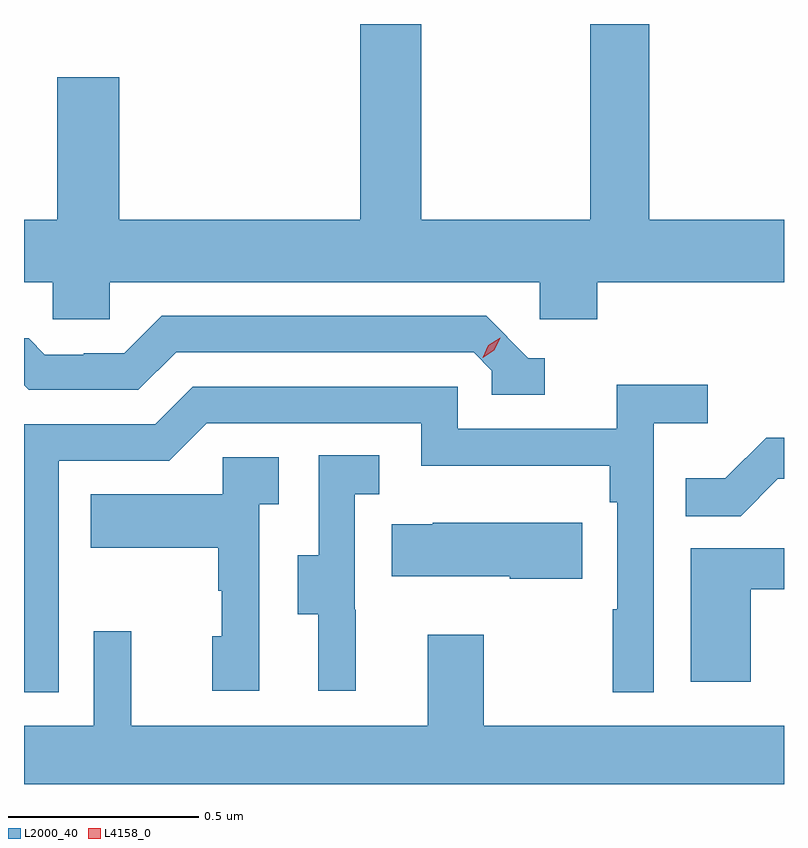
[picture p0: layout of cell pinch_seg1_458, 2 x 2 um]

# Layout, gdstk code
import gdstk
lib = gdstk.Library(unit=1e-6, precision=1e-09)
def P(c, l, *ps):  # polygons
    for p in ps: c.add(gdstk.Polygon(p, *l))
L2000_40 = (2000, 40)
L4158_0 = (4158, 0)

pinch_seg1_458 = lib.new_cell('pinch_seg1_458')
P(pinch_seg1_458, L2000_40, [(980.331,514.436),(981.462,514.436),(981.462,514.338),(981.614,514.338),(981.614,514.436),(982.105,514.436),(982.105,514.6),(981.75,514.6),(981.75,515.115),(981.595,515.115),(981.595,514.6),(981.15,514.6),(981.15,515.115),(980.99,515.115),(980.99,514.6),(980.356,514.6),(980.356,514.975),(980.192,514.975),(980.192,514.6),(980.105,514.6),(980.105,514.436),(980.181,514.436),(980.181,514.338),(980.331,514.338)],
  [(981.475,514.236),(981.432,514.236),(981.321,514.347),(980.468,514.347),(980.369,514.248),(980.262,514.248),(980.262,514.245),(980.159,514.245),(980.117,514.288),(980.105,514.288),(980.105,514.164),(980.117,514.152),(980.406,514.152),(980.505,514.251),(981.288,514.251),(981.336,514.203),(981.336,514.14),(981.475,514.14)],
  [(980.196,513.966),(980.487,513.966),(980.586,514.065),(981.15,514.065),(981.15,513.953),(981.646,513.953),(981.646,513.857),(981.666,513.857),(981.666,513.575),(981.654,513.575),(981.654,513.357),(981.762,513.357),(981.762,514.064),(981.904,514.064),(981.904,514.166),(981.665,514.166),(981.665,514.05),(981.246,514.05),(981.246,514.161),(980.549,514.161),(980.45,514.062),(980.105,514.062),(980.105,513.357),(980.196,513.357)],
  [(982.089,513.918),(982.105,513.918),(982.105,514.026),(982.058,514.026),(981.951,513.919),(981.847,513.919),(981.847,513.82),(981.991,513.82)],
  [(980.978,513.573),(980.976,513.573),(980.976,513.877),(981.04,513.877),(981.04,513.98),(980.88,513.98),(980.88,513.717),(980.825,513.717),(980.825,513.562),(980.879,513.562),(980.879,513.36),(980.978,513.36)],
  [(980.724,513.851),(980.776,513.851),(980.776,513.975),(980.628,513.975),(980.628,513.877),(980.281,513.877),(980.281,513.737),(980.616,513.737),(980.616,513.623),(980.626,513.623),(980.626,513.504),(980.6,513.504),(980.6,513.36),(980.724,513.36)],
  [(981.574,513.802),(981.181,513.802),(981.181,513.799),(981.073,513.799),(981.073,513.662),(981.383,513.662),(981.383,513.655),(981.574,513.655)],
  [(982.018,513.627),(982.105,513.627),(982.105,513.735),(981.86,513.735),(981.86,513.384),(982.018,513.384)],
  [(982.105,513.268),(981.315,513.268),(981.315,513.508),(981.167,513.508),(981.167,513.268),(980.387,513.268),(980.387,513.517),(980.289,513.517),(980.289,513.268),(980.105,513.268),(980.105,513.115),(982.105,513.115)])
P(pinch_seg1_458, L4158_0, [(981.312,514.237),(981.312,514.237),(981.327,514.27),(981.358,514.29),(981.358,514.29),(981.358,514.29),(981.343,514.257),(981.312,514.237)])

lib.write_gds('pinch_seg1_458.gds')
